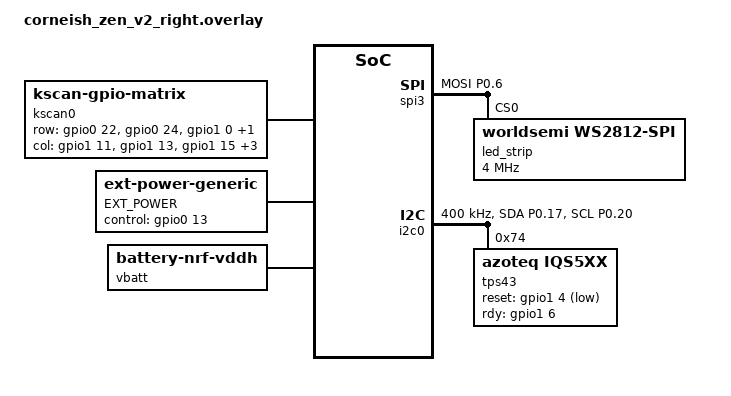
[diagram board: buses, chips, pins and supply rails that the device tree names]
/*
*
* Copyright (c) 2021 Darryl deHaan
* SPDX-License-Identifier: MIT
*
*/
#include "corneish_zen.dtsi"
#include <dt-bindings/led/led.h>
#include <input/processors.dtsi>
#include <zmk-input-inertia/input/processor/input_inertia.dtsi>

/ {
    chosen {
        /* The physical right-side e-ink panel has been removed. */
        /delete-property/ zephyr,display;
        /delete-property/ zmk,display;

        /*
         * ZMK Studio requires the physical-layout system rather than the
         * legacy chosen matrix-transform path. The board definition already
         * provides the Corne 6-column physical layout. Remove both legacy
         * spellings because this config/board combination produces the
         * underscore form in the final devicetree.
         */
        /delete-property/ zmk,matrix-transform;
        /delete-property/ zmk,matrix_transform;

        zmk,battery = &vbatt;
        zmk,underglow = &led_strip;
    };

    kscan0: kscan {
        compatible = "zmk,kscan-gpio-matrix";
        wakeup-source;
        diode-direction = "col2row";
        row-gpios
            = <&gpio0 22 (GPIO_ACTIVE_HIGH | GPIO_PULL_DOWN)>
            , <&gpio0 24 (GPIO_ACTIVE_HIGH | GPIO_PULL_DOWN)>
            , <&gpio1 0 (GPIO_ACTIVE_HIGH | GPIO_PULL_DOWN)>
            , <&gpio0 11 (GPIO_ACTIVE_HIGH | GPIO_PULL_DOWN)>
            ;

        col-gpios
            = <&gpio1 11 GPIO_ACTIVE_HIGH>
            , <&gpio1 13 GPIO_ACTIVE_HIGH>
            , <&gpio1 15 GPIO_ACTIVE_HIGH>
            , <&gpio0 2 GPIO_ACTIVE_HIGH>
            , <&gpio0 29 GPIO_ACTIVE_HIGH>
            , <&gpio0 31 GPIO_ACTIVE_HIGH>
            ;
    };

    ext-power {
        compatible = "zmk,ext-power-generic";
        label = "EXT_POWER";
        control-gpios = <&gpio0 13 GPIO_ACTIVE_HIGH>;
        init-delay-ms = <50>;
    };

    vbatt: vbatt {
        compatible = "zmk,battery-nrf-vddh";
    };

    /*
     * The right half is the split central, so the TPS43 feeds ZMK's pointing
     * pipeline directly. Scroll events are scaled to 125% before inertia.
     * Cursor inertia is intentionally disabled below: this inertia module only
     * sees relative motion events and cannot tell a stationary finger from a
     * lifted finger, which can cause false stop/restart cycles and cursor jumps
     * on a touchpad.
     */
    tps43_input: tps43_input {
        compatible = "zmk,input-listener";
        device = <&tps43>;
        input-processors = <&zip_scroll_scaler 5 4>, <&zip_inertia>;
    };
};

&default_transform {
    col-offset = <6>;
};

&five_column_transform {
    col-offset = <6>;
};

/*
 * Stability-first inertia tuning.
 *
 * Pointer inertia is disabled by setting its start threshold to the maximum
 * signed 16-bit relative value. Direct cursor movement therefore follows only
 * the TPS43's own filtering, without a timer interpreting brief gaps in motion
 * as a finger lift.
 *
 * Scroll inertia remains enabled. A 60 ms trigger tolerates short report gaps,
 * while a start threshold of one wheel unit lets short two-finger scrolls arm
 * inertia as soon as the driver emits a wheel event.
 */
&zip_inertia {
    trigger-ms = <60>;

    move-decay-factor-int = <0>;
    move-report-interval-ms = <20>;
    move-threshold-start = <32767>;
    move-threshold-stop = <1>;

    scroll-decay-factor-int = <88>;
    scroll-report-interval-ms = <35>;
    scroll-threshold-start = <1>;
    scroll-threshold-stop = <0>;
};

/* Disable the right-side display inherited from the stock Zen v2 board DTS. */
&epd {
    status = "disabled";
};

&spi0 {
    status = "disabled";
};

&spi3 {
    compatible = "nordic,nrf-spim";
    status = "okay";
    pinctrl-0 = <&spi3_default>;
    pinctrl-1 = <&spi3_sleep>;
    pinctrl-names = "default", "sleep";

    led_strip: ws2812@0 {
        compatible = "worldsemi,ws2812-spi";
        reg = <0>;
        spi-max-frequency = <4000000>;
        chain-length = <12>;
        spi-one-frame = <0x70>;
        spi-zero-frame = <0x40>;
        color-mapping = <LED_COLOR_ID_GREEN LED_COLOR_ID_RED LED_COLOR_ID_BLUE>;
    };
};

&pinctrl {
    /* Former display header: P0.17 = SDA, P0.20 = SCL. */
    i2c0_default: i2c0_default {
        group1 {
            psels = <NRF_PSEL(TWIM_SDA, 0, 17)>,
                    <NRF_PSEL(TWIM_SCL, 0, 20)>;
        };
    };

    i2c0_sleep: i2c0_sleep {
        group1 {
            psels = <NRF_PSEL(TWIM_SDA, 0, 17)>,
                    <NRF_PSEL(TWIM_SCL, 0, 20)>;
            low-power-enable;
        };
    };

    spi3_default: spi3_default {
        group1 {
            psels = <NRF_PSEL(SPIM_MOSI, 0, 6)>;
        };
    };

    spi3_sleep: spi3_sleep {
        group1 {
            psels = <NRF_PSEL(SPIM_MOSI, 0, 6)>;
            low-power-enable;
        };
    };
};

&i2c0 {
    status = "okay";
    compatible = "nordic,nrf-twim";
    pinctrl-0 = <&i2c0_default>;
    pinctrl-1 = <&i2c0_sleep>;
    pinctrl-names = "default", "sleep";
    clock-frequency = <400000>;

    tps43: iqs5xx@74 {
        status = "okay";
        compatible = "azoteq,iqs5xx";
        reg = <0x74>;

        /* Former display control pins: P1.04 = nRST, P1.06 = RDY. */
        reset-gpios = <&gpio1 4 GPIO_ACTIVE_LOW>;
        rdy-gpios = <&gpio1 6 GPIO_ACTIVE_HIGH>;

        /* Single-finger tap is reported by the driver as BTN_0 (left click). */
        one-finger-tap;
        two-finger-tap;
        press-and-hold;
        press-and-hold-time = <250>;

        /* Conventional wheel direction: natural-scroll flags intentionally off. */
        scroll;

        /*
         * Keep the chip's strong low-speed filtering, but reduce the stationary
         * boundary so small deliberate motion leaves idle-touch sooner and slow
         * finger movement is less likely to disappear between reports.
         */
        bottom-beta = <5>;
        stationary-threshold = <3>;

        /* Physical mounting currently swaps the X and Y axes. */
        switch-xy;
    };
};
